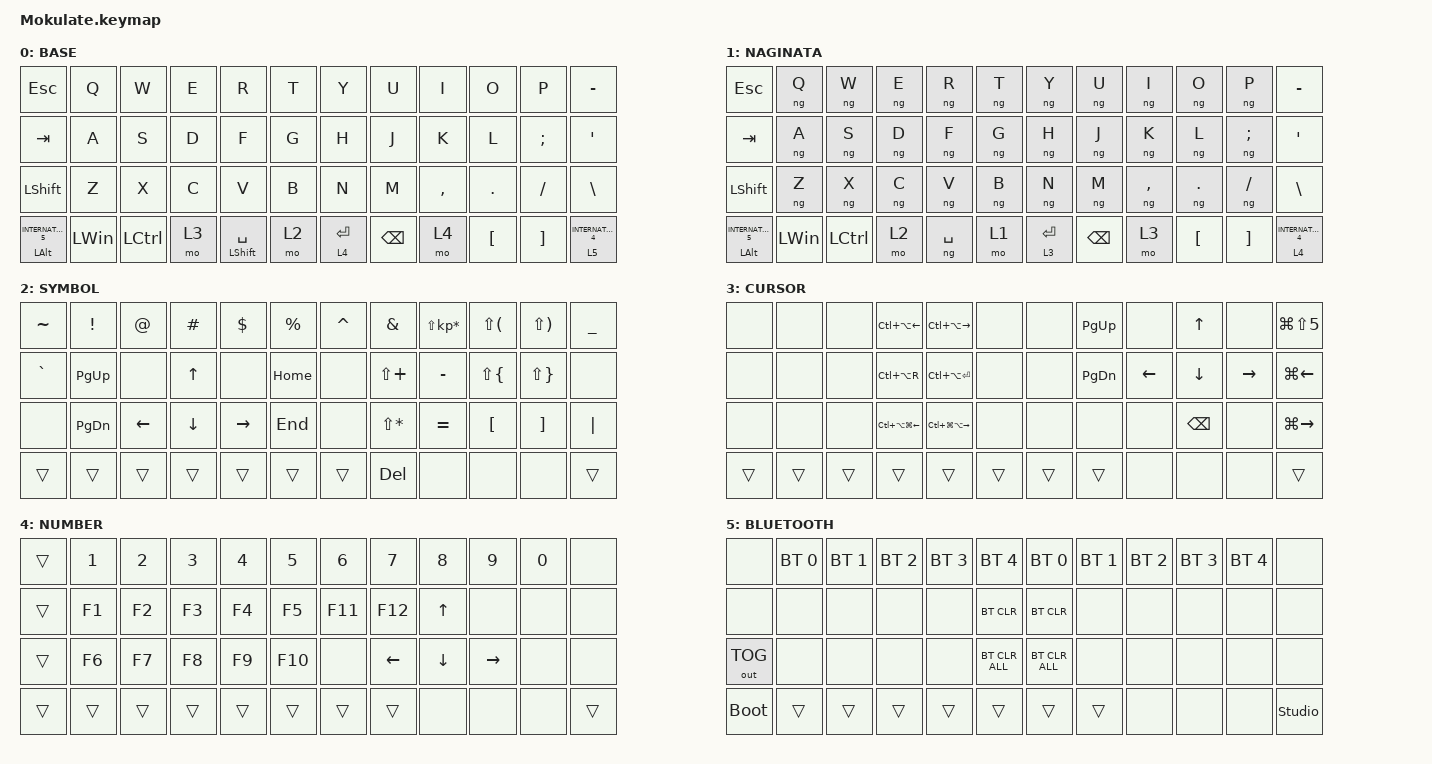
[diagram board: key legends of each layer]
#include <behaviors/naginata.dtsi>
#include <behaviors.dtsi>
#include <dt-bindings/zmk/bt.h>
#include <dt-bindings/zmk/keys.h>
#include <dt-bindings/zmk/outputs.h>

/ {
    keymap {
        compatible = "zmk,keymap";

        BASE {
            bindings = <
&kp ESC                       &kp Q         &kp W      &kp E  &kp R                 &kp T    &kp Y      &kp U          &kp I      &kp O             &kp P              &kp MINUS
&kp TAB                       &kp A         &kp S      &kp D  &kp F                 &kp G    &kp H      &kp J          &kp K      &kp L             &kp SEMI           &kp APOS
&kp LSHFT                     &kp Z         &kp X      &kp C  &kp V                 &kp B    &kp N      &kp M          &kp COMMA  &kp DOT           &kp FSLH           &kp BACKSLASH
&mt LEFT_ALT INTERNATIONAL_5  &kp LEFT_WIN  &kp LCTRL  &mo 3  &mt LEFT_SHIFT SPACE  &mo 2    &lt 4 RET  &kp BACKSPACE  &mo 4      &kp LEFT_BRACKET  &kp RIGHT_BRACKET  &lt 5 INTERNATIONAL_4
            >;
        };

        NAGINATA {
            bindings = <
&kp ESC                       &ng Q         &ng W      &ng E  &ng R                 &ng T    &ng Y      &ng U          &ng I      &ng O             &ng P              &kp MINUS
&kp TAB                       &ng A         &ng S      &ng D  &ng F                 &ng G    &ng H      &ng J          &ng K      &ng L             &ng SEMI           &kp APOS
&kp LSHFT                     &ng Z         &ng X      &ng C  &ng V                 &ng B    &ng N      &ng M          &ng COMMA  &ng DOT           &ng FSLH           &kp BACKSLASH
&mt LEFT_ALT INTERNATIONAL_5  &kp LEFT_WIN  &kp LCTRL  &mo 2  &ng SPACE  &mo 1    &lt 3 RET  &kp BACKSPACE  &mo 3      &kp LEFT_BRACKET  &kp RIGHT_BRACKET  &lt 4 INTERNATIONAL_4
            >;
        };

        SYMBOL {
            bindings = <
&kp TILDE  &kp EXCL   &kp AT    &kp HASH  &kp DOLLAR  &kp PERCENT    &kp CARET  &kp AMPS      &kp LS(KP_ASTERISK)  &kp LS(LEFT_PARENTHESIS)  &kp LS(RIGHT_PARENTHESIS)  &kp UNDER
&kp GRAVE  &kp PG_UP  &none     &kp UP    &none       &kp HOME       &none      &kp LS(PLUS)  &kp MINUS            &kp LS(LEFT_BRACE)        &kp LS(RIGHT_BRACE)        &none
&none      &kp PG_DN  &kp LEFT  &kp DOWN  &kp RIGHT   &kp END        &none      &kp LS(STAR)  &kp EQUAL            &kp LBKT                  &kp RBKT                   &kp PIPE
&trans     &trans     &trans    &trans    &trans      &trans         &trans     &kp DEL       &none                &none                     &none                      &trans
            >;
        };

        CURSOR {
            bindings = <
&none   &none   &none   &kp LC(LA(LEFT))      &kp LC(LA(RIGHT))      &none     &none   &kp PG_UP  &none     &kp UP    &none      &kp LG(LS(N5))
&none   &none   &none   &kp LC(LA(R))         &kp LC(LA(RET))        &none     &none   &kp PG_DN  &kp LEFT  &kp DOWN  &kp RIGHT  &kp LG(LEFT)
&none   &none   &none   &kp LC(LA(LG(LEFT)))  &kp LC(LG(LA(RIGHT)))  &none     &none   &none      &none     &kp BSPC  &none      &kp LG(RIGHT)
&trans  &trans  &trans  &trans                &trans                 &trans    &trans  &trans     &none     &none     &none      &trans
            >;
        };

        NUMBER {
            bindings = <
&trans  &kp NUMBER_1  &kp NUMBER_2  &kp NUMBER_3  &kp NUMBER_4  &kp N5     &kp NUMBER_6  &kp N7    &kp NUMBER_8  &kp N9     &kp N0  &none
&trans  &kp F1        &kp F2        &kp F3        &kp F4        &kp F5     &kp F11       &kp F12   &kp UP_ARROW  &none      &none   &none
&trans  &kp F6        &kp F7        &kp F8        &kp F9        &kp F10    &none         &kp LEFT  &kp DOWN      &kp RIGHT  &none   &none
&trans  &trans        &trans        &trans        &trans        &trans     &trans        &trans    &none         &none      &none   &trans
            >;
        };

        BLUETOOTH {
            bindings = <
&none         &bt BT_SEL 0  &bt BT_SEL 1  &bt BT_SEL 2  &bt BT_SEL 3  &bt BT_SEL 4      &bt BT_SEL 0    &bt BT_SEL 1  &bt BT_SEL 2  &bt BT_SEL 3  &bt BT_SEL 4  &none
&none         &none         &none         &none         &none         &bt BT_CLR        &bt BT_CLR      &none         &none         &none         &none         &none
&out OUT_TOG  &none         &none         &none         &none         &bt BT_CLR_ALL    &bt BT_CLR_ALL  &none         &none         &none         &none         &none
&bootloader   &trans        &trans        &trans        &trans        &trans            &trans          &trans        &none         &none         &none         &studio_unlock
            >;
        };
    };

    conditional_layers {
        compatible = "zmk,conditional-layers";

        BLUETOOTH {
            if-layers = <2 4>;
            then-layer = <5>;
        };
    };
};

/ {
    macros {
        ng_on: ng_on {
            compatible = "zmk,behavior-macro";
            #binding-cells = <0>;
            bindings = <&macro_tap>, <&kp LANG1 &to 1>;
        };

        ng_off: ng_off {
            compatible = "zmk,behavior-macro";
            #binding-cells = <0>;
            bindings = <&macro_tap>, <&kp LANG2 &to 0>;
        };
    };

    combos {
        compatible = "zmk,combos";

        combo_ng_on {
            timeout-ms = <300>;
            key-positions = <18 19>;
            bindings = <&ng_on>;
            layers = <0 1>;
        };

        combo_ng_off {
            timeout-ms = <300>;
            key-positions = <16 17>;
            bindings = <&ng_off>;
            layers = <0 1>;
        };
    };
};
